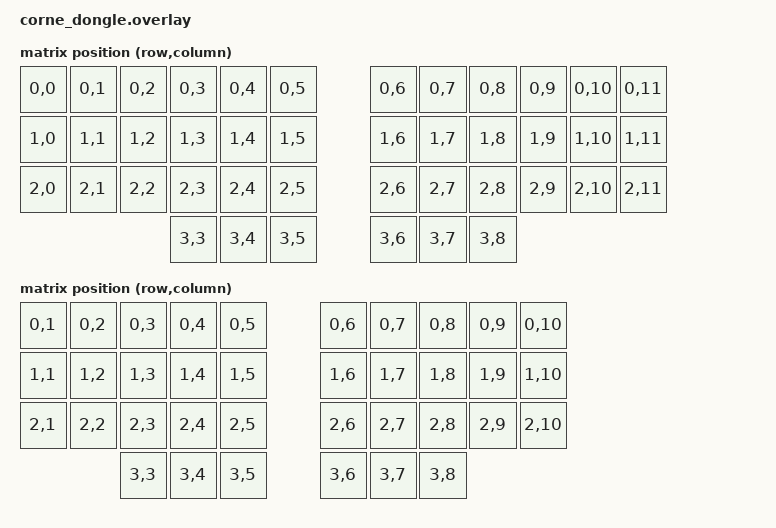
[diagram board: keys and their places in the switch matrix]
/*
 * Prospector dongle for the Corne: the split central, with no keys of its own.
 *
 * Deliberately does NOT include ZMK's corne.dtsi. That file is written for the
 * halves and reaches for &pro_micro, &pro_micro_i2c and the SSD1306, none of
 * which exist on a Seeed XIAO BLE. What the central actually needs is the
 * matrix transforms (so key positions coming off the peripherals resolve to
 * keymap positions) and the physical layouts, all copied from
 * https://github.com/zmkfirmware/zmk/blob/v0.3/app/boards/shields/corne/corne.dtsi
 *
 * BOTH Corne layouts have to be here, not just the 6-column one this keymap
 * uses. A split central pushes its *selected physical layout index* to every
 * peripheral (app/src/split/bluetooth/central.c), and that index is a position
 * in each device's own zmk,physical-layout list. The halves get two layouts
 * from corne.dtsi and sort 5col to index 0; a dongle declaring only the 6col
 * layout is stuck on index 0 and would order both halves onto their 5-column
 * transform, shifting every key and stranding the whole thumb row.
 *
 * With both declared the lists match, the chosen 6col layout lands on index 1
 * on all three devices, and that is what gets pushed to the halves.
 *
 * The halves report already-global positions -- corne_right.overlay applies
 * col-offset = <6> to these same transforms on its own side -- so the dongle
 * needs no offset logic.
 */

#include <dt-bindings/zmk/matrix_transform.h>

#include <layouts/foostan/corne/5column.dtsi>
#include <layouts/foostan/corne/6column.dtsi>

&foostan_corne_6col_layout {
    transform = <&default_transform>;
};

&foostan_corne_5col_layout {
    transform = <&five_column_transform>;
};

/ {
    chosen {
        zmk,kscan = &mock_kscan;
        zmk,physical-layout = &foostan_corne_6col_layout;
    };

    default_transform: keymap_transform_0 {
        compatible = "zmk,matrix-transform";
        columns = <12>;
        rows = <4>;
// | SW1  | SW2  | SW3  | SW4  | SW5  | SW6  |   | SW6  | SW5  | SW4  | SW3  | SW2  | SW1  |
// | SW7  | SW8  | SW9  | SW10 | SW11 | SW12 |   | SW12 | SW11 | SW10 | SW9  | SW8  | SW7  |
// | SW13 | SW14 | SW15 | SW16 | SW17 | SW18 |   | SW18 | SW17 | SW16 | SW15 | SW14 | SW13 |
//                      | SW19 | SW20 | SW21 |   | SW21 | SW20 | SW19 |
        map = <
RC(0,0) RC(0,1) RC(0,2) RC(0,3) RC(0,4) RC(0,5)  RC(0,6) RC(0,7) RC(0,8) RC(0,9) RC(0,10) RC(0,11)
RC(1,0) RC(1,1) RC(1,2) RC(1,3) RC(1,4) RC(1,5)  RC(1,6) RC(1,7) RC(1,8) RC(1,9) RC(1,10) RC(1,11)
RC(2,0) RC(2,1) RC(2,2) RC(2,3) RC(2,4) RC(2,5)  RC(2,6) RC(2,7) RC(2,8) RC(2,9) RC(2,10) RC(2,11)
                        RC(3,3) RC(3,4) RC(3,5)  RC(3,6) RC(3,7) RC(3,8)
        >;
    };

    // Unused by this keymap, but see the header comment: it has to exist so the
    // dongle's layout list is the same shape as the halves'.
    five_column_transform: keymap_transform_1 {
        compatible = "zmk,matrix-transform";
        columns = <10>;
        rows = <4>;
// | SW2  | SW3  | SW4  | SW5  | SW6  |   | SW6  | SW5  | SW4  | SW3  | SW2  |
// | SW8  | SW9  | SW10 | SW11 | SW12 |   | SW12 | SW11 | SW10 | SW9  | SW8  |
// | SW14 | SW15 | SW16 | SW17 | SW18 |   | SW18 | SW17 | SW16 | SW15 | SW14 |
//               | SW19 | SW20 | SW21 |   | SW21 | SW20 | SW19 |
        map = <
RC(0,1) RC(0,2) RC(0,3) RC(0,4) RC(0,5)  RC(0,6) RC(0,7) RC(0,8) RC(0,9) RC(0,10)
RC(1,1) RC(1,2) RC(1,3) RC(1,4) RC(1,5)  RC(1,6) RC(1,7) RC(1,8) RC(1,9) RC(1,10)
RC(2,1) RC(2,2) RC(2,3) RC(2,4) RC(2,5)  RC(2,6) RC(2,7) RC(2,8) RC(2,9) RC(2,10)
                        RC(3,3) RC(3,4) RC(3,5)  RC(3,6) RC(3,7) RC(3,8)
        >;
    };

    // ZMK requires a chosen zmk,kscan even on a device with no matrix.
    mock_kscan: mock_kscan_0 {
        compatible = "zmk,kscan-mock";
        columns = <0>;
        rows = <0>;
        events = <0>;
    };
};
